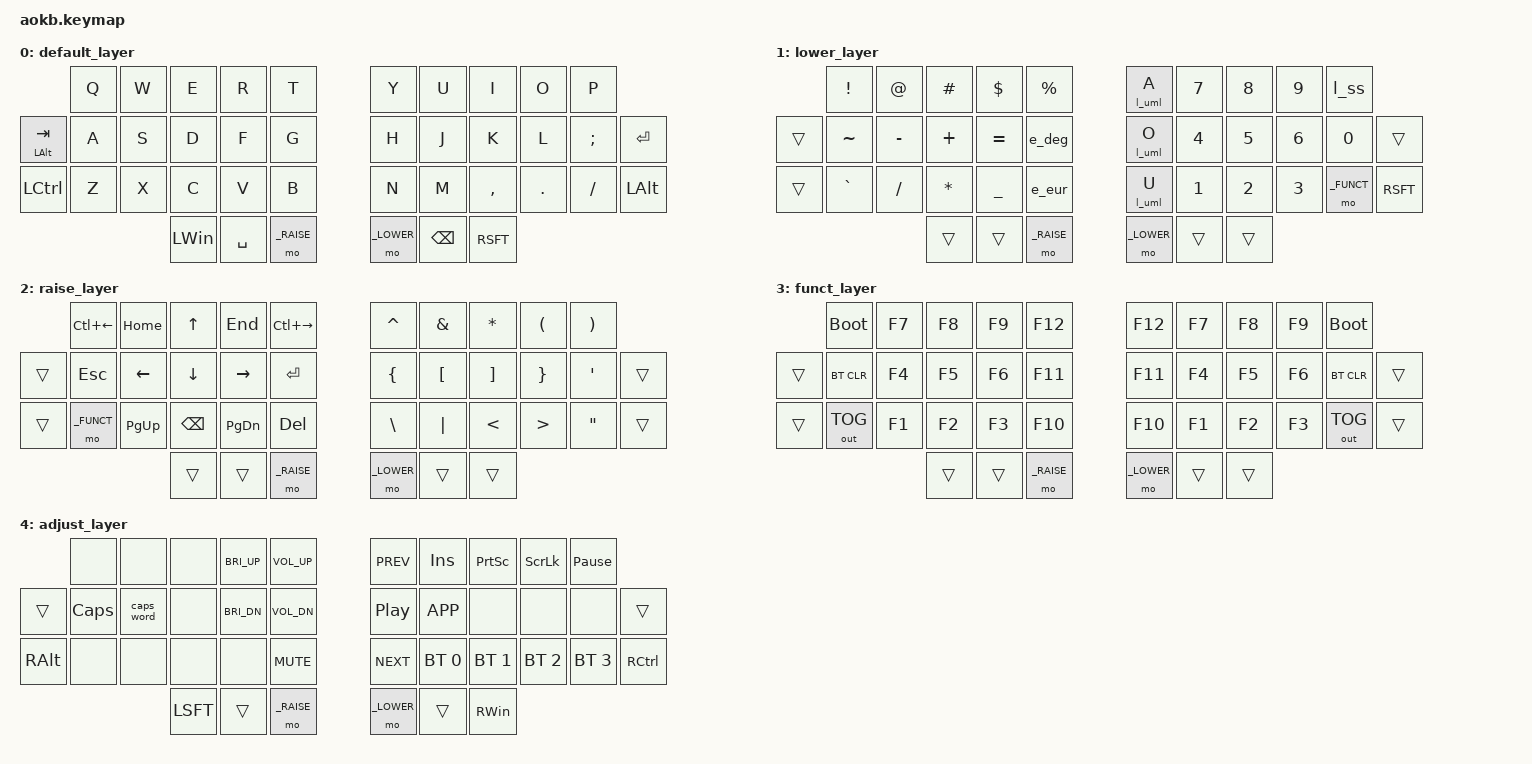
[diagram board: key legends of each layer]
#include <behaviors.dtsi>
#include <dt-bindings/zmk/keys.h>
#include <dt-bindings/zmk/bt.h>
#include <dt-bindings/zmk/outputs.h>

#define _BASE   0
#define _LOWER  1
#define _RAISE  2
#define _FUNCT  3
#define _ADJUST 4

#define K_COMPOSE K_APP

/ {
    macros {
        /* LANGUAGE SPECIFIC*/
        l_uml: l_uml {
            // Macro for Umlaute äöü
            compatible = "zmk,behavior-macro-one-param";
            #binding-cells = <1>;
            bindings
                = <&kp K_COMPOSE &kp DQT>,
                  <&macro_param_1to1>,
                  <&kp MACRO_PLACEHOLDER>;
        };
        ZMK_MACRO(l_ss,
            // Macro for ß
            bindings = <&kp K_COMPOSE &kp S &kp S>;
        )

        /* REGION SPECIFIC - Europe */
        ZMK_MACRO(e_eur,
            // Macro for €
            bindings = <&kp K_COMPOSE &kp C &kp EQUAL>;
        )
        ZMK_MACRO(e_deg,
            // Macro for °
            bindings = <&kp K_COMPOSE &kp O &kp O>;
        )
    };
};

/ {
    keymap {
        compatible = "zmk,keymap";

        default_layer {
            bindings = <
//          |           |           |           |           |           |           |           |           |           |           |           |           |           
            &kp Q       &kp W       &kp E       &kp R       &kp T                   &kp Y       &kp U       &kp I       &kp O       &kp P
&mt LALT TAB &kp A      &kp S       &kp D       &kp F       &kp G                   &kp H       &kp J       &kp K       &kp L       &kp SEMI    &kp RET
&kp LCTL    &kp Z       &kp X       &kp C       &kp V       &kp B                   &kp N       &kp M       &kp COMMA   &kp DOT     &kp FSLH    &kp LALT
                                    &kp LWIN    &kp SPACE   &mo _RAISE              &mo _LOWER  &kp BSPC    &kp RSFT     
            >;
        };

        lower_layer {
            bindings = <
//          |           |           |           |           |           |           |           |           |           |           |           |           |           
            &kp EXCL    &kp AT      &kp HASH    &kp DLLR    &kp PRCNT               &l_uml A    &kp N7      &kp N8      &kp N9      &l_ss               
&trans      &kp TILDE   &kp MINUS   &kp PLUS    &kp EQUAL   &e_deg                  &l_uml O    &kp N4      &kp N5      &kp N6      &kp N0      &trans    
&trans      &kp GRAVE   &kp FSLH    &kp ASTRK   &kp UNDER   &e_eur                  &l_uml U    &kp N1      &kp N2      &kp N3      &mo _FUNCT  &kp RSFT
                                    &trans      &trans      &mo _RAISE              &mo _LOWER  &trans      &trans  
            >;
        };

        raise_layer {
            bindings = <
//          |           |           |           |           |           |           |           |           |           |           |           |           |           
            &kp LC(LEFT) &kp HOME   &kp UP      &kp END     &kp LC(RIGHT)           &kp CARET   &kp AMPS    &kp ASTRK   &kp LPAR    &kp RPAR
&trans      &kp ESC     &kp LEFT    &kp DOWN    &kp RIGHT   &kp RET                 &kp LBRC    &kp LBKT    &kp RBKT    &kp RBRC    &kp SQT     &trans
&trans      &mo _FUNCT  &kp PG_UP   &kp BSPC    &kp PG_DN   &kp DEL                 &kp BSLH    &kp PIPE    &kp LT      &kp GT      &kp DQT     &trans
                                    &trans      &trans      &mo _RAISE              &mo _LOWER  &trans      &trans     
            >;
        };

        funct_layer {
            bindings = <
//          |           |           |           |           |           |           |           |           |           |           |           |           |           
            &bootloader &kp F7      &kp F8      &kp F9      &kp F12                 &kp F12     &kp F7      &kp F8      &kp F9      &bootloader
&trans      &bt BT_CLR  &kp F4      &kp F5      &kp F6      &kp F11                 &kp F11     &kp F4      &kp F5      &kp F6      &bt BT_CLR  &trans
&trans     &out OUT_TOG &kp F1      &kp F2      &kp F3      &kp F10                 &kp F10     &kp F1      &kp F2      &kp F3     &out OUT_TOG &trans
                                    &trans      &trans      &mo _RAISE              &mo _LOWER  &trans      &trans
            >;
        };

        adjust_layer {
            bindings = <
//          |           |           |           |           |           |           |           |           |           |           |           |           |           
            &none       &none       &none      &kp C_BRI_UP &kp C_VOL_UP            &kp C_PREV  &kp INS     &kp PSCRN   &kp SLCK    &kp PAUSE_BREAK
&trans      &kp CAPS    &caps_word  &none      &kp C_BRI_DN &kp C_VOL_DN            &kp C_PP    &kp K_APP   &none       &none       &none       &trans
&kp RALT    &none       &none       &none       &none       &kp C_MUTE              &kp C_NEXT &bt BT_SEL 0 &bt BT_SEL 1 &bt BT_SEL 2 &bt BT_SEL 3 &kp RCTL
                                    &kp LSFT    &trans      &mo _RAISE              &mo _LOWER  &trans      &kp RWIN
            >;
        };
    };
};

/ {
    conditional_layers {
        compatible = "zmk,conditional-layers";
        tri_layer {
            if-layers = <_LOWER _RAISE>;
            then-layer = <_ADJUST>;
        };
    };
};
